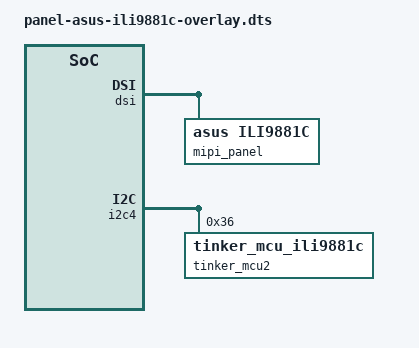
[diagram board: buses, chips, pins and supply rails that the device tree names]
/dts-v1/;
/plugin/;
/ {
	compatible = "rockchip,rk3399pro-evb-v11-linux";

	fragment@0 {
		target = <&dsi>;
		__overlay__ {
			mipi_panel: mipi-panel {
				compatible ="asus,ili9881c";
			};
		};
	};

	fragment@1 {
		target = <&i2c4>;
		__overlay__ {
			tinker_mcu: tinker_mcu@45 {
				status = "disabled";
			};

			tinker_mcu2: tinker_mcu2@36 {
				status = "okay";
				compatible = "tinker_mcu_ili9881c";
				reg = <0x36>;
			};
		};
	};
};
